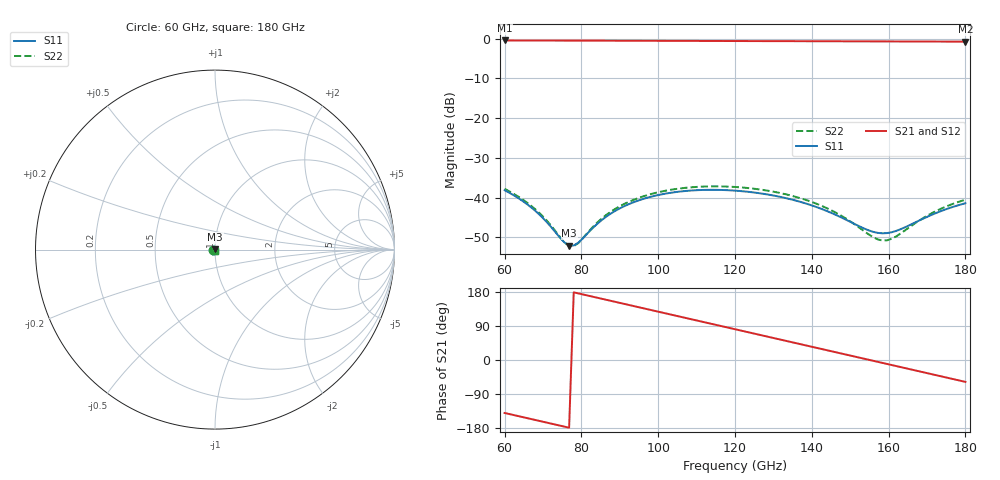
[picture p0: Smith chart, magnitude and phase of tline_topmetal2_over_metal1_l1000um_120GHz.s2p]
#  GHZ S DB R 50
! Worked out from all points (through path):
!   101 points, 60 GHz to 180 GHz, reference 50 ohm
!   highest |S21| = -0.44 dB at 60 GHz (marker M1); lowest = -0.7 dB at 180 GHz (marker M2)
!   group delay of S21, straight-line fit = 6.43 ps
!   lowest |S11| = -52.1 dB at 76.8 GHz (marker M3), VSWR 1.00, Z = 50 + j0.245 ohm
!   |S11| at or under -10 dB: start of sweep to end of sweep
!   |S22| runs from -52.2 to -37.2 dB; largest |S21 - S12| = 1.6e-14
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60  -38.15 -161.8  -0.44 -139.8  -0.44 -139.8  -37.80 -160.8
64.8  -40.93 180.0  -0.45 -150.9  -0.45 -150.9  -40.55 -178.6
68.4  -43.69 163.4  -0.46 -159.2  -0.46 -159.2  -43.29 165.4
70.8  -45.98 149.2  -0.47 -164.8  -0.47 -164.8  -45.60 151.8
75.6  -51.31 99.6  -0.48 -175.9  -0.48 -175.9  -51.28 103.2
76.8  -52.07 79.8  -0.48 -178.7  -0.48 -178.7  -52.18 82.6
78  -52.07 58.8  -0.48 178.5  -0.48 178.5  -52.23 60.3
80.4  -50.24 23.7  -0.49 173.0  -0.49 173.0  -50.21 23.4
84  -46.72 -7.9  -0.50 164.6  -0.50 164.6  -46.40 -8.2
88.8  -43.35 -33.1  -0.51 153.5  -0.51 153.5  -42.85 -32.8
94.8  -40.75 -56.8  -0.52 139.6  -0.52 139.6  -40.13 -55.6
100.8  -39.21 -77.5  -0.54 125.7  -0.54 125.7  -38.49 -75.6
110.4  -38.12 -108.7  -0.56 103.5  -0.56 103.5  -37.29 -105.3
115.2  -38.06 -123.8  -0.58 92.3  -0.58 92.3  -37.17 -119.7
120  -38.25 -139.0  -0.59 81.2  -0.59 81.2  -37.33 -134.0
129.6  -39.41 -170.0  -0.61 59.0  -0.61 59.0  -38.45 -162.9
140.4  -42.10 151.2  -0.64 34.0  -0.64 34.0  -41.25 161.8
148.8  -45.52 111.8  -0.66 14.6  -0.66 14.6  -45.22 126.5
157.2  -48.89 48.4  -0.68 -4.9  -0.68 -4.9  -50.53 59.7
160.8  -48.73 14.6  -0.69 -13.3  -0.69 -13.3  -50.38 16.6
170.4  -44.69 -51.9  -0.71 -35.5  -0.71 -35.5  -44.38 -53.4
180  -41.43 -93.4  -0.74 -57.7  -0.74 -57.7  -40.55 -91.1
